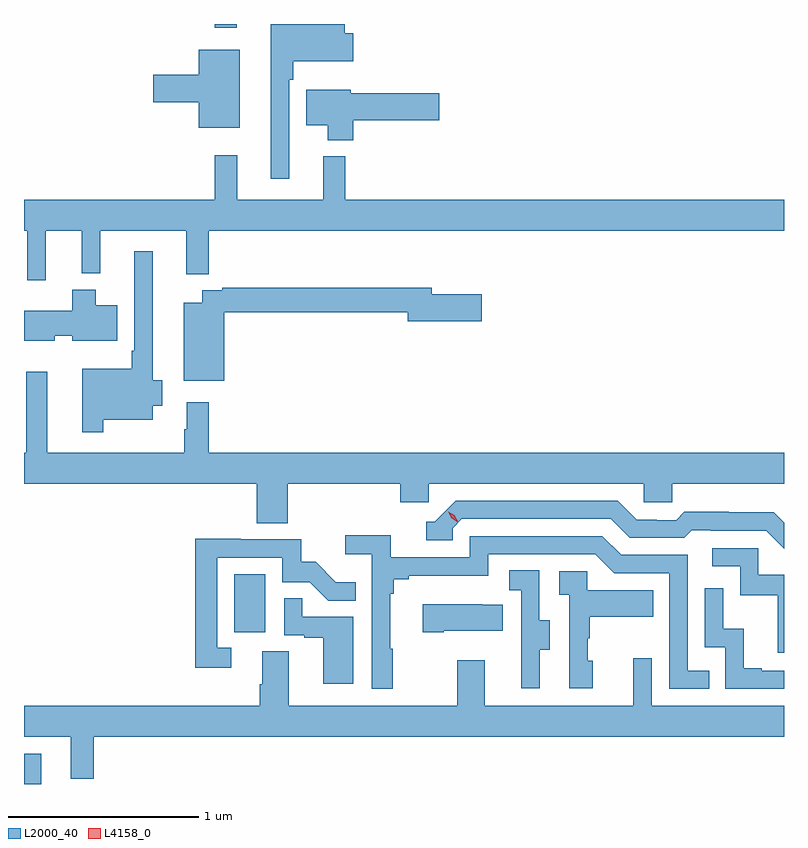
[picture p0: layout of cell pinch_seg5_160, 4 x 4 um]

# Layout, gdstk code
import gdstk
lib = gdstk.Library(unit=1e-6, precision=1e-09)
def R(c, l, rs):  # rectangles x0, y0, x1, y1
    for r in rs: c.add(gdstk.rectangle(r[:2], r[2:], *l))
def P(c, l, *ps):  # polygons
    for p in ps: c.add(gdstk.Polygon(p, *l))
L2000_40 = (2000, 40)
L4158_0 = (4158, 0)

pinch_seg5_160 = lib.new_cell('pinch_seg5_160')
R(pinch_seg5_160, L2000_40, [(1089.287,885.816,1089.379,885.976), (1090.394,886.614,1090.558,886.921), (1090.291,889.797,1090.408,889.816)])
P(pinch_seg5_160, L2000_40, [(1090.683,889.523),(1090.703,889.523),(1090.703,889.619),(1091.02,889.619),(1091.02,889.767),(1090.976,889.767),(1090.976,889.816),(1090.586,889.816),(1090.586,889.002),(1090.683,889.002)],
  [(1090.423,889.681),(1090.208,889.681),(1090.208,889.55),(1089.966,889.55),(1089.966,889.403),(1090.208,889.403),(1090.208,889.271),(1090.423,889.271)],
  [(1091.021,889.309),(1091.473,889.309),(1091.473,889.451),(1091.008,889.451),(1091.008,889.471),(1090.772,889.471),(1090.772,889.283),(1090.886,889.283),(1090.886,889.205),(1091.021,889.205)],
  [(1089.401,888.728),(1089.59,888.728),(1089.59,888.503),(1089.689,888.503),(1089.689,888.728),(1090.142,888.728),(1090.142,888.499),(1090.259,888.499),(1090.259,888.728),(1093.287,888.728),(1093.287,888.892),(1090.979,888.892),(1090.979,889.12),(1090.862,889.12),(1090.862,888.892),(1090.409,888.892),(1090.409,889.126),(1090.291,889.126),(1090.291,888.892),(1089.287,888.892),(1089.287,888.728),(1089.303,888.728),(1089.303,888.468),(1089.401,888.468)],
  [(1089.703,887.732),(1089.964,887.732),(1089.964,887.807),(1090.015,887.807),(1090.015,887.942),(1089.964,887.942),(1089.964,888.619),(1089.867,888.619),(1089.867,888.097),(1089.855,888.097),(1089.855,888.001),(1089.594,888.001),(1089.594,887.667),(1089.703,887.667)],
  [(1090.342,888.298),(1091.306,888.298),(1091.306,888.251),(1091.695,888.251),(1091.695,888.393),(1091.434,888.393),(1091.434,888.427),(1090.33,888.427),(1090.33,888.414),(1090.226,888.414),(1090.226,888.349),(1090.127,888.349),(1090.127,887.939),(1090.342,887.939)],
  [(1089.448,888.175),(1089.542,888.175),(1089.542,888.149),(1089.778,888.149),(1089.778,888.337),(1089.664,888.337),(1089.664,888.418),(1089.542,888.418),(1089.542,888.307),(1089.287,888.307),(1089.287,888.149),(1089.448,888.149)],
  [(1090.676,887.396),(1091.267,887.396),(1091.267,887.298),(1091.418,887.298),(1091.418,887.396),(1092.549,887.396),(1092.549,887.298),(1092.699,887.298),(1092.699,887.396),(1093.287,887.396),(1093.287,887.56),(1090.259,887.56),(1090.259,887.824),(1090.143,887.824),(1090.143,887.684),(1090.131,887.684),(1090.131,887.56),(1089.409,887.56),(1089.409,887.986),(1089.299,887.986),(1089.299,887.56),(1089.287,887.56),(1089.287,887.396),(1090.511,887.396),(1090.511,887.188),(1090.676,887.188)],
  [(1093.287,887.19),(1093.232,887.245),(1092.996,887.245),(1092.996,887.248),(1092.763,887.248),(1092.721,887.205),(1092.618,887.205),(1092.618,887.208),(1092.511,887.208),(1092.412,887.307),(1091.559,887.307),(1091.448,887.196),(1091.405,887.196),(1091.405,887.1),(1091.544,887.1),(1091.544,887.163),(1091.592,887.211),(1092.375,887.211),(1092.474,887.112),(1092.763,887.112),(1092.802,887.151),(1092.901,887.151),(1092.901,887.148),(1093.194,887.148),(1093.287,887.055)],
  [(1091.227,886.529),(1091.215,886.529),(1091.215,886.817),(1091.234,886.817),(1091.234,886.894),(1091.311,886.894),(1091.311,886.913),(1091.73,886.913),(1091.73,887.025),(1092.294,887.025),(1092.393,886.926),(1092.684,886.926),(1092.684,886.317),(1092.893,886.317),(1092.893,886.413),(1092.78,886.413),(1092.78,887.022),(1092.43,887.022),(1092.331,887.121),(1091.634,887.121),(1091.634,887.01),(1091.216,887.01),(1091.216,887.126),(1090.977,887.126),(1090.977,887.024),(1091.118,887.024),(1091.118,886.317),(1091.227,886.317)],
  [(1090.378,886.533),(1090.305,886.533),(1090.305,887.007),(1090.647,887.007),(1090.647,886.878),(1090.791,886.878),(1090.889,886.78),(1091.033,886.78),(1091.033,886.879),(1090.929,886.879),(1090.822,886.986),(1090.746,886.986),(1090.746,887.103),(1090.427,887.103),(1090.427,887.108),(1090.189,887.108),(1090.189,886.428),(1090.378,886.428)],
  [(1093.287,886.917),(1093.152,886.917),(1093.152,887.058),(1092.909,887.058),(1092.909,886.962),(1093.056,886.962),(1093.056,886.809),(1093.255,886.809),(1093.255,886.506),(1093.287,886.506)],
  [(1092.001,886.522),(1092.055,886.522),(1092.055,886.677),(1092,886.677),(1092,886.94),(1091.841,886.94),(1091.841,886.837),(1091.904,886.837),(1091.904,886.533),(1091.903,886.533),(1091.903,886.32),(1092.001,886.32)],
  [(1092.28,886.464),(1092.255,886.464),(1092.255,886.583),(1092.265,886.583),(1092.265,886.697),(1092.599,886.697),(1092.599,886.837),(1092.252,886.837),(1092.252,886.935),(1092.105,886.935),(1092.105,886.811),(1092.156,886.811),(1092.156,886.32),(1092.28,886.32)],
  [(1093.287,886.413),(1093.171,886.413),(1093.171,886.426),(1093.076,886.426),(1093.076,886.634),(1092.966,886.634),(1092.966,886.846),(1092.87,886.846),(1092.87,886.536),(1092.978,886.536),(1092.978,886.317),(1093.287,886.317)],
  [(1091.02,886.695),(1090.751,886.695),(1090.751,886.793),(1090.656,886.793),(1090.656,886.599),(1090.763,886.599),(1090.763,886.587),(1090.862,886.587),(1090.862,886.344),(1091.02,886.344)],
  [(1091.497,886.622),(1091.807,886.622),(1091.807,886.759),(1091.699,886.759),(1091.699,886.762),(1091.385,886.762),(1091.385,886.615),(1091.497,886.615)],
  [(1089.655,886.064),(1093.287,886.064),(1093.287,886.228),(1092.591,886.228),(1092.591,886.477),(1092.494,886.477),(1092.494,886.228),(1091.713,886.228),(1091.713,886.468),(1091.566,886.468),(1091.566,886.228),(1090.681,886.228),(1090.681,886.514),(1090.541,886.514),(1090.541,886.34),(1090.529,886.34),(1090.529,886.228),(1089.287,886.228),(1089.287,886.064),(1089.533,886.064),(1089.533,885.843),(1089.655,885.843)])
P(pinch_seg5_160, L4158_0, [(1091.568,887.197),(1091.537,887.216),(1091.521,887.249),(1091.521,887.249),(1091.521,887.249),(1091.552,887.23),(1091.569,887.198),(1091.569,887.197)])

lib.write_gds('pinch_seg5_160.gds')
